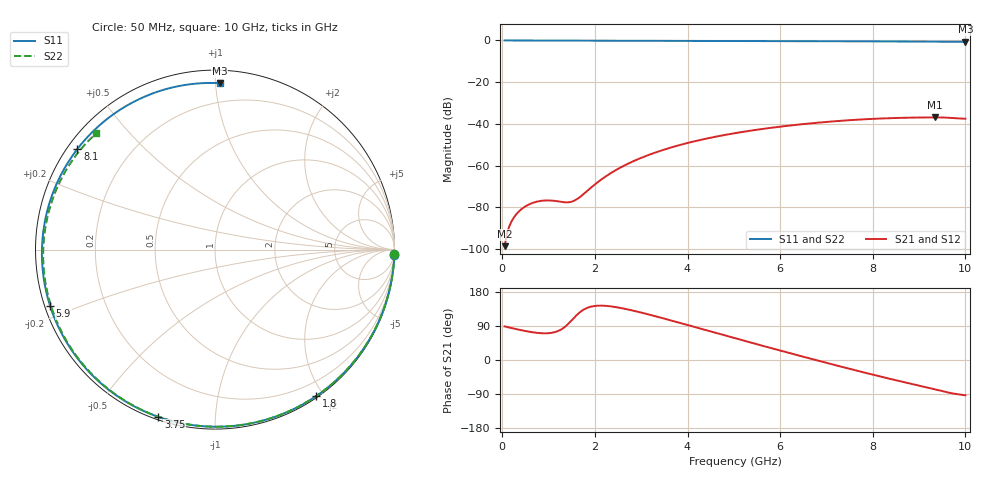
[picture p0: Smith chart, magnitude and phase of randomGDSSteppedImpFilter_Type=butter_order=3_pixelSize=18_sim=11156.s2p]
! freq	dB(S11)	phase(S11)	dB(S12)	phase(S12)
!  dB(S21)	phase(S21)	dB(S22)	phase(S22)
!S-par simulation data
#  GHz  S  DB  R 50
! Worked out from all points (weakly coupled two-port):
!   200 points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, 50 MHz to 10 GHz, reference 50 ohm
!   highest |S21| = -36.89 dB at 9.35 GHz (marker M1); lowest = -98.6 dB at 50 MHz (marker M2)
!   lowest |S11| = -0.7 dB at 10 GHz (marker M3), VSWR 26.68, Z = 3.85 + j51.2 ohm
!   |S11| at or under -10 dB: nowhere
!   |S22| runs from -0.7 to 0.0 dB; largest |S21 - S12| = 0
!   S11 on the Smith chart (normalised r, x): 50 MHz: 0, -72; 1.8 GHz: 0.02, -1.91; 3.75 GHz: 0.01, -0.72; 5.9 GHz: 0.02, -0.17; 8.1 GHz: 0.03, +0.33; 10 GHz: 0.08, +1.02
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0.05  -0.00 -1.6  -98.62 88.6  -98.62 88.6  -0.00 -1.4
0.45  -0.02 -14.2  -80.27 77.6  -80.27 77.6  -0.02 -12.3
0.7  -0.03 -22.0  -77.56 72.4  -77.56 72.4  -0.02 -19.1
0.9  -0.04 -28.2  -76.75 70.4  -76.75 70.4  -0.03 -24.4
1.45  -0.06 -45.0  -77.53 98.5  -77.53 98.5  -0.05 -39.0
1.6  -0.06 -49.4  -76.25 117.6  -76.25 117.6  -0.05 -42.9
1.75  -0.07 -53.9  -73.73 132.4  -73.73 132.4  -0.06 -46.8
1.8  -0.07 -55.3  -72.77 135.7  -72.77 135.7  -0.06 -48.0
2.15  -0.08 -65.5  -66.47 143.5  -66.47 143.5  -0.07 -56.9
2.5  -0.09 -75.4  -61.55 138.6  -61.55 138.6  -0.08 -65.6
2.9  -0.11 -86.4  -57.21 128.1  -57.21 128.1  -0.09 -75.2
3.4  -0.13 -99.6  -53.02 112.5  -53.02 112.5  -0.11 -86.8
3.75  -0.14 -108.7  -50.64 100.8  -50.64 100.8  -0.12 -94.7
4.35  -0.17 -123.7  -47.33 80.4  -47.33 80.4  -0.15 -107.8
5.05  -0.20 -140.8  -44.35 56.6  -44.35 56.6  -0.18 -122.5
5.9  -0.26 -161.2  -41.61 28.2  -41.61 28.2  -0.23 -139.6
6.7  -0.32 179.5  -39.66 2.1  -39.66 2.1  -0.28 -155.4
7.4  -0.38 162.0  -38.37 -20.2  -38.37 -20.2  -0.33 -169.1
8.1  -0.45 143.8  -37.49 -41.7  -37.49 -41.7  -0.40 177.1
8.35  -0.47 137.0  -37.27 -49.1  -37.27 -49.1  -0.42 172.0
9.35  -0.58 108.4  -36.89 -77.5  -36.89 -77.5  -0.54 150.9
10  -0.65 88.4  -37.52 -93.2  -37.52 -93.2  -0.68 135.6
